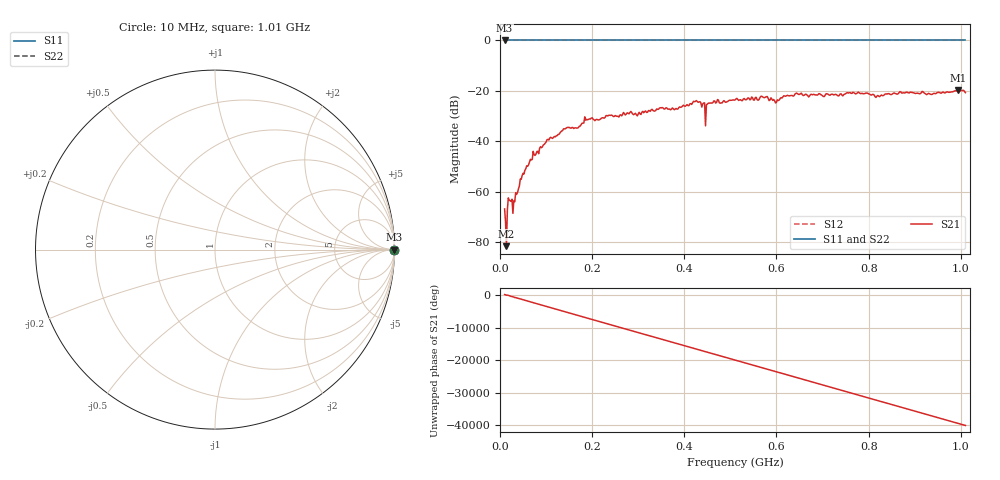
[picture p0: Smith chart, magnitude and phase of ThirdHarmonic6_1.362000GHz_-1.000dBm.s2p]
! 8/16/2025 3:23:24 PM
! C:\ANRITSUVNA\TEMP\TEMP.S2P
! CHANNEL.1
! TR.MEASUREMENT
! RAW.DATA
! RF.CORRECTION.OFF
! AVERAGING.OFF
! IF.BANDWIDTH: 5KHZ
! SWEEPTYPE:  FREQ.SWEEP(Linear)
! Reference Plane Port Info
! PORT:  PORT1  PORT2
! DISTANCE:  0  m  0  m
! TIME:  0  s  0  s
! PHASE.OFFSET:  0  deg.  0  deg.
! LOSS:  0  dB  0  dB
! REF.LOSS:  0  dB  0  dB
! REF.FREQ:  0  Hz  0  Hz
! Power Info
! POWER:  -20  dBm  -20  dBm
! EFF.POWER:  -20  dBm  -20  dBm
! SOURCE.ATTEN:  0  dB  0  dB
! TEST.ATTEN:  0  dB  0  dB
# GHZ S RI R 50.0
! FREQ.GHZ  S11RE  S11IM  S21RE  S21IM  S12RE  S12IM  S22RE  S22IM
!; PortSelection: Port_12
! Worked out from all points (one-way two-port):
!   501 points, 10 MHz to 1.01 GHz, reference 50 ohm
!   highest |S21| = -19.63 dB at 994 MHz (marker M1); lowest = -81.5 dB at 14 MHz (marker M2)
!   lowest |S11| = 0.0 dB at 10 MHz (marker M3)
!   |S11| at or under -10 dB: nowhere
!   |S22| runs from 0.0 to 0.0 dB; largest |S21 - S12| = 1.1
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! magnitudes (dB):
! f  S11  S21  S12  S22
! 10 MHz  0.0  -66.7  0.0  0.0
! 14 MHz  0.0  -81.5  0.0  0.0
! 22 MHz  0.0  -63.4  0.0  0.0
! 32 MHz  0.0  -63.8  0.0  0.0
! 48 MHz  0.0  -53.6  0.0  0.0
! 76 MHz  0.0  -45.5  0.0  0.0
! 142 MHz  0.0  -35.0  0.0  0.0
! 178 MHz  0.0  -32.8  0.0  0.0
! 188 MHz  0.0  -31.3  0.0  0.0
! 344 MHz  0.0  -27.3  0.0  0.0
! 382 MHz  0.0  -26.9  0.0  0.0
! 424 MHz  0.0  -24.1  0.0  0.0
! 450 MHz  0.0  -25.2  0.0  0.0
! 454 MHz  0.0  -24.8  0.0  0.0
! 510 MHz  0.0  -23.6  0.0  0.0
! 570 MHz  0.0  -22.4  0.0  0.0
! 600 MHz  0.0  -24.4  0.0  0.0
! 620 MHz  0.0  -22.1  0.0  0.0
! 678 MHz  0.0  -21.6  0.0  0.0
! 844 MHz  0.0  -21.0  0.0  0.0
! 994 MHz  0.0  -19.6  0.0  0.0
! 1.01 GHz  0.0  -20.7  0.0  0.0
